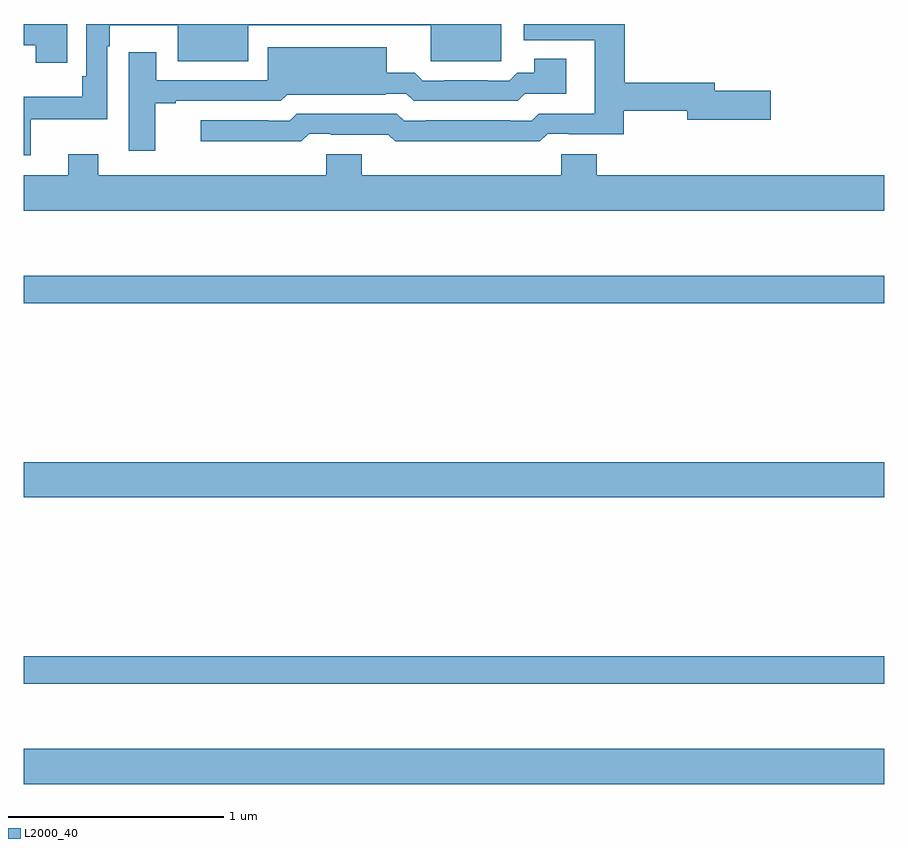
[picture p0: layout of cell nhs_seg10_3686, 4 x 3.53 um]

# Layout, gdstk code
import gdstk
lib = gdstk.Library(unit=1e-6, precision=1e-09)
def R(c, l, rs):  # rectangles x0, y0, x1, y1
    for r in rs: c.add(gdstk.rectangle(r[:2], r[2:], *l))
def P(c, l, *ps):  # polygons
    for p in ps: c.add(gdstk.Polygon(p, *l))
L2000_40 = (2000, 40)

nhs_seg10_3686 = lib.new_cell('nhs_seg10_3686')
R(nhs_seg10_3686, L2000_40, [(311,1314.968,315,1315.132), (311,1315.434,315,1315.562), (311,1316.3,315,1316.464), (311,1317.202,315,1317.331)])
P(nhs_seg10_3686, L2000_40, [(311.203,1318.5),(311,1318.5),(311,1318.402),(311.056,1318.402),(311.056,1318.32),(311.203,1318.32)],
  [(312.327,1317.99),(312.427,1317.99),(312.427,1317.986),(312.695,1317.986),(312.728,1317.954),(312.926,1317.954),(312.926,1317.956),(313.204,1317.956),(313.204,1317.954),(313.399,1317.954),(313.435,1317.99),(313.534,1317.99),(313.534,1317.987),(313.788,1317.987),(313.788,1318.098),(314.084,1318.098),(314.084,1318.055),(314.473,1318.055),(314.473,1318.19),(314.212,1318.19),(314.212,1318.226),(313.793,1318.226),(313.793,1318.5),(313.323,1318.5),(313.323,1318.424),(313.655,1318.424),(313.655,1318.083),(313.395,1318.083),(313.362,1318.05),(313.262,1318.05),(313.262,1318.053),(312.868,1318.053),(312.868,1318.05),(312.768,1318.05),(312.735,1318.083),(312.27,1318.083),(312.237,1318.05),(312.137,1318.05),(312.137,1318.053),(311.823,1318.053),(311.823,1317.956),(312.066,1317.956),(312.066,1317.954),(312.291,1317.954)],
  [(311.032,1318.058),(311.388,1318.058),(311.388,1318.397),(311.401,1318.397),(311.401,1318.494),(311.717,1318.494),(311.717,1318.328),(312.043,1318.328),(312.043,1318.494),(312.893,1318.494),(312.893,1318.328),(313.219,1318.328),(313.219,1318.5),(311.292,1318.5),(311.292,1318.258),(311.272,1318.258),(311.272,1318.162),(311,1318.162),(311,1317.891),(311.032,1317.891)],
  [(311.611,1318.131),(311.707,1318.131),(311.707,1318.143),(312.196,1318.143),(312.225,1318.172),(312.683,1318.172),(312.683,1318.176),(312.779,1318.176),(312.812,1318.143),(313.296,1318.143),(313.329,1318.176),(313.522,1318.176),(313.522,1318.339),(313.373,1318.339),(313.373,1318.273),(313.294,1318.273),(313.257,1318.236),(313.157,1318.236),(313.157,1318.239),(312.955,1318.239),(312.955,1318.236),(312.855,1318.236),(312.817,1318.274),(312.688,1318.274),(312.688,1318.393),(312.135,1318.393),(312.135,1318.239),(311.617,1318.239),(311.617,1318.369),(311.489,1318.369),(311.489,1317.912),(311.611,1317.912)],
  [(315,1317.796),(313.664,1317.796),(313.664,1317.895),(313.499,1317.895),(313.499,1317.796),(312.572,1317.796),(312.572,1317.895),(312.407,1317.895),(312.407,1317.796),(311.347,1317.796),(311.347,1317.895),(311.207,1317.895),(311.207,1317.796),(311,1317.796),(311,1317.632),(315,1317.632)])

lib.write_gds('nhs_seg10_3686.gds')
